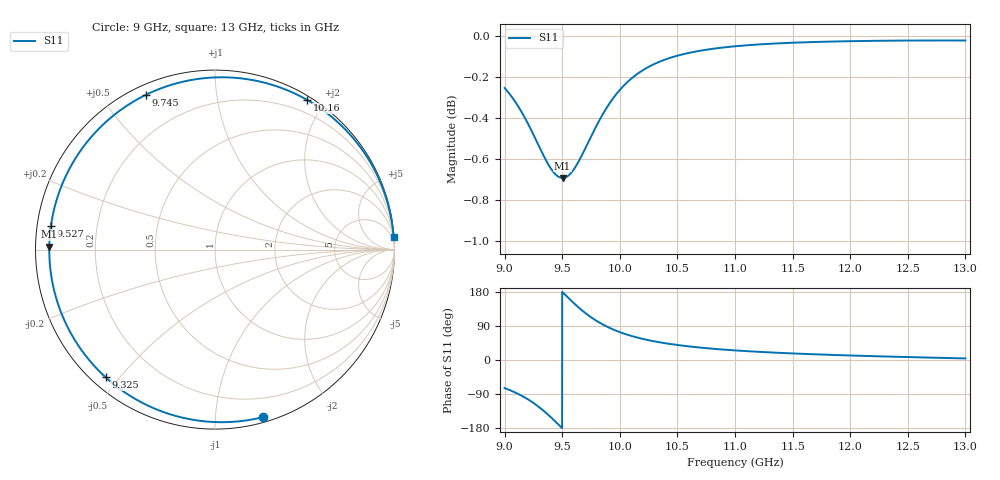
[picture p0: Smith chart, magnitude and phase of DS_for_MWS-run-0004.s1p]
! TOUCHSTONE file generated by CST DESIGN STUDIO
! Date and time: Wed Feb  5 13:46:33 2025
! Project name: C:\Work\MatlabApps\UnitCellOptimizationMatlab\CST\unitcell.cst
! Tree item: Tasks\Sweep1\SPara1\S-Parameters
! Header version: 2024
! Port assignment regex: !\s*Touchstone port\s*([0-9]+)\s*=\s*(CST MWS port|CST DES external port|CST DES block port)\s*(.+)\s* \(\"(.*)\"\)(\s*mode\s*([0-9]+))?.*
! Touchstone port assignment:
! Touchstone port 1 = CST DES external port 1 ("")
# GHz S MA R 50
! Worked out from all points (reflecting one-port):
!   4001 points, 9 GHz to 13 GHz, reference 50 ohm
!   lowest |S11| = -0.7 dB at 9.503 GHz (marker M1), VSWR 25.11, Z = 1.99 + j0.461 ohm
!   phase of S11 starts at -74 deg and turns -282 deg over the sweep
!   S11 on the Smith chart (normalised r, x): 9 GHz: 0.04, -1.32; 9.325 GHz: 0.04, -0.46; 9.527 GHz: 0.04, +0.07; 9.745 GHz: 0.04, +0.65; 10.16 GHz: 0.04, +1.79; 13 GHz: 1, +27
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9  0.9711 -74.1
9.085  0.9643 -84.8
9.187  0.9537 -101.0
9.259  0.945 -115.3
9.325  0.9366 -130.6
9.372  0.9312 -142.9
9.421  0.9267 -156.6
9.461  0.9243 -168.4
9.5  0.9234 179.8
9.503  0.9234 178.9
9.527  0.9237 171.7
9.58  0.9262 156.0
9.641  0.9318 139.0
9.692  0.9377 126.0
9.745  0.9443 113.9
9.797  0.9507 103.5
9.855  0.9572 93.3
9.927  0.9642 82.5
10  0.97 73.5
10.163  0.9792 58.3
10.316  0.9847 48.3
10.5  0.9888 39.6
10.722  0.9918 32.0
11  0.994 25.3
11.5  0.996 17.3
12  0.9968 11.9
12.5  0.9972 7.7
13  0.9972 4.2
